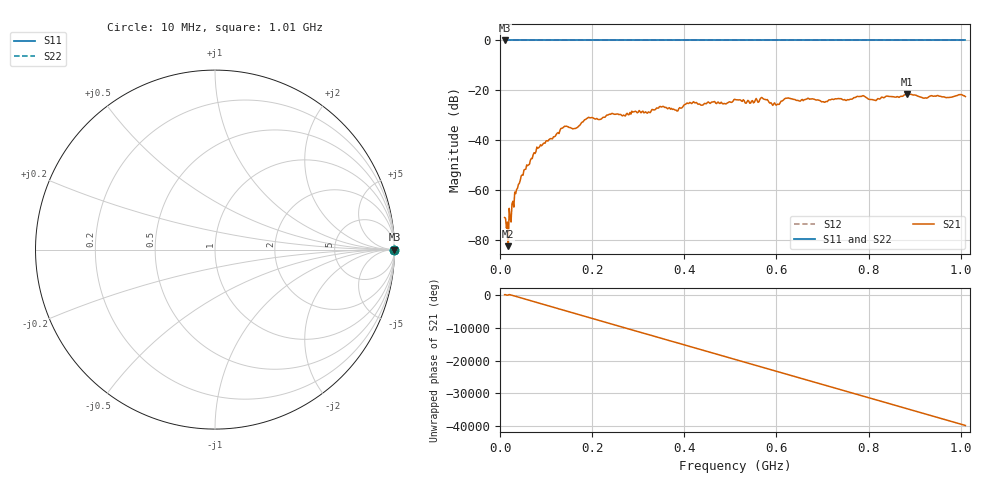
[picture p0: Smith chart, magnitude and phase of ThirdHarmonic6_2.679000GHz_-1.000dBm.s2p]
! 8/17/2025 6:17:12 AM
! C:\ANRITSUVNA\TEMP\TEMP.S2P
! CHANNEL.1
! TR.MEASUREMENT
! RAW.DATA
! RF.CORRECTION.OFF
! AVERAGING.OFF
! IF.BANDWIDTH: 5KHZ
! SWEEPTYPE:  FREQ.SWEEP(Linear)
! Reference Plane Port Info
! PORT:  PORT1  PORT2
! DISTANCE:  0  m  0  m
! TIME:  0  s  0  s
! PHASE.OFFSET:  0  deg.  0  deg.
! LOSS:  0  dB  0  dB
! REF.LOSS:  0  dB  0  dB
! REF.FREQ:  0  Hz  0  Hz
! Power Info
! POWER:  -20  dBm  -20  dBm
! EFF.POWER:  -20  dBm  -20  dBm
! SOURCE.ATTEN:  0  dB  0  dB
! TEST.ATTEN:  0  dB  0  dB
# GHZ S RI R 50.0
! FREQ.GHZ  S11RE  S11IM  S21RE  S21IM  S12RE  S12IM  S22RE  S22IM
!; PortSelection: Port_12
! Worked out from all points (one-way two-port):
!   501 points, 10 MHz to 1.01 GHz, reference 50 ohm
!   highest |S21| = -21.50 dB at 884 MHz (marker M1); lowest = -82.4 dB at 18 MHz (marker M2)
!   lowest |S11| = 0.0 dB at 10 MHz (marker M3)
!   |S11| at or under -10 dB: nowhere
!   |S22| runs from 0.0 to 0.0 dB; largest |S21 - S12| = 1.1
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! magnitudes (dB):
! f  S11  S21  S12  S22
! 10 MHz  0.0  -70.9  0.0  0.0
! 14 MHz  0.0  -75.2  0.0  0.0
! 18 MHz  0.0  -82.4  0.0  0.0
! 30 MHz  0.0  -66.7  0.0  0.0
! 44 MHz  0.0  -56.0  0.0  0.0
! 78 MHz  0.0  -44.5  0.0  0.0
! 136 MHz  0.0  -35.1  0.0  0.0
! 162 MHz  0.0  -35.3  0.0  0.0
! 178 MHz  0.0  -32.7  0.0  0.0
! 194 MHz  0.0  -30.9  0.0  0.0
! 322 MHz  0.0  -28.6  0.0  0.0
! 344 MHz  0.0  -27.1  0.0  0.0
! 382 MHz  0.0  -27.9  0.0  0.0
! 410 MHz  0.0  -25.2  0.0  0.0
! 510 MHz  0.0  -23.6  0.0  0.0
! 570 MHz  0.0  -23.1  0.0  0.0
! 602 MHz  0.0  -25.5  0.0  0.0
! 622 MHz  0.0  -23.1  0.0  0.0
! 678 MHz  0.0  -23.4  0.0  0.0
! 844 MHz  0.0  -22.4  0.0  0.0
! 884 MHz  0.0  -21.5  0.0  0.0
! 1.01 GHz  0.0  -22.5  0.0  0.0
